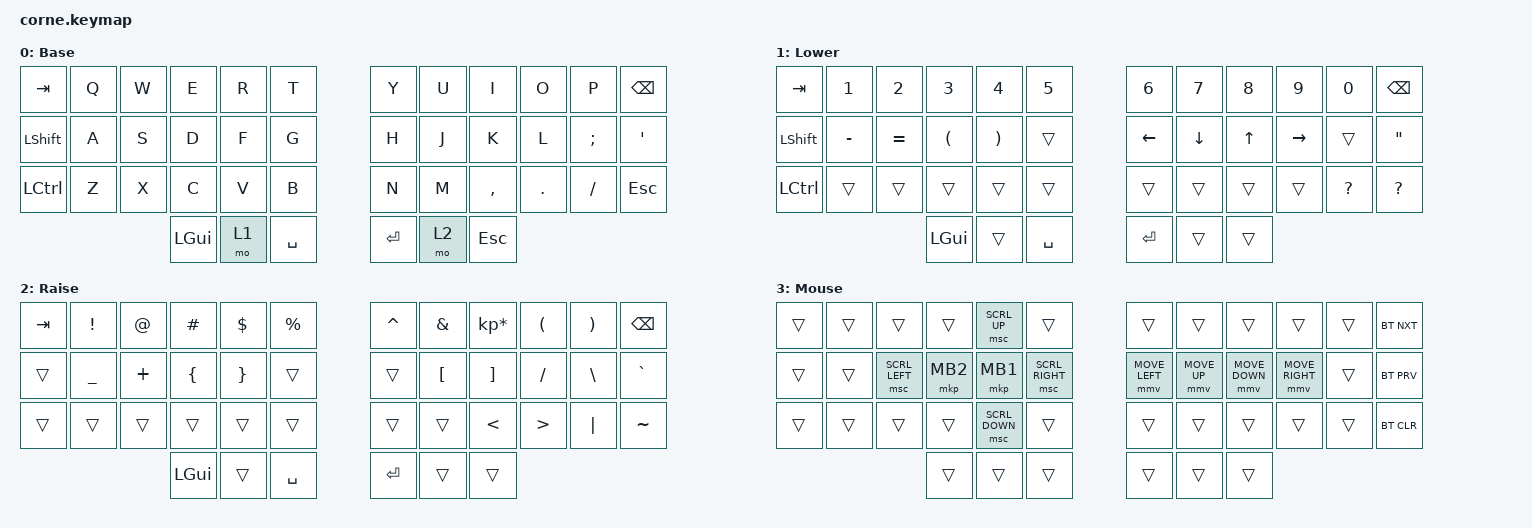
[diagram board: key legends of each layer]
/*
 * Copyright (c) 2020 The ZMK Contributors
 *
 * SPDX-License-Identifier: MIT
 */

#include <behaviors.dtsi>
#include <dt-bindings/zmk/bt.h>
#include <dt-bindings/zmk/keys.h>
#include <dt-bindings/zmk/pointing.h>
#include <dt-bindings/zmk/pointing.h>
#include <dt-bindings/zmk/pointing.h>

#define DEF 0
#define LOW 1
#define RAI 2
#define MOU 3

/ {
    behaviors {
        homerow: homerow {
            compatible = "zmk,behavior-hold-tap";
            label = "HOMEROW";
            #binding-cells = <2>;
            flavor = "balanced";
            tapping-term-ms = <280>;
            quick-tap-ms = <180>;
            require-prior-idle-ms = <350>;
            bindings = <&kp>, <&kp>;
        };

        templayer: templayer {
            compatible = "zmk,behavior-hold-tap";
            label = "TEMPLAYER";
            bindings = <&mo>, <&kp>;

            #binding-cells = <2>;
            tapping-term-ms = <200>;
        };
    };

    combos { compatible = "zmk,combos"; };

    keymap {
        compatible = "zmk,keymap";

        default_layer {

            display-name = "Base";
            bindings = <
&kp TAB     &kp Q                    &kp W                  &kp E                &kp R                &kp T        &kp Y    &kp U                 &kp I                 &kp O                     &kp P                     &kp BSPC
&kp LSHIFT  &kp A  &kp S  &kp D  &kp F  &kp G        &kp H    &kp J  &kp K  &kp L  &kp SEMI  &kp SQT
&kp LCTRL   &kp Z                    &kp X                  &kp C                &kp V                &kp B        &kp N    &kp M                 &kp   COMMA             &kp DOT                   &kp FSLH                  &kp ESC
                                                            &kp LGUI             &mo 1                &kp SPACE    &kp RET  &mo 2                 &kp ESC
            >;
        };

        lower_layer {

            display-name = "Lower";
            label = "LOW";
            bindings = <
&kp TAB         &kp N1     &kp N2     &kp N3                &kp N4                 &kp N5       &kp N6    &kp N7    &kp N8  &kp N9     &kp N0        &kp BSPC
&kp LEFT_SHIFT  &kp MINUS  &kp EQUAL  &kp LEFT_PARENTHESIS  &kp RIGHT_PARENTHESIS  &trans       &kp LEFT  &kp DOWN  &kp UP  &kp RIGHT &trans        &kp DOUBLE_QUOTES
&kp LCTRL       &trans     &trans     &trans                &trans                 &trans       &trans    &trans    &trans  &trans     &kp QUESTION  &kp QUESTION
                                      &kp LGUI              &trans                 &kp SPACE    &kp RET   &trans    &trans
            >;
        };

        raise_layer {
            display-name = "Raise";
            label = "RAI";
            bindings = <
&kp TAB  &kp EXCL        &kp AT    &kp HASH        &kp DLLR         &kp PRCNT    &kp CARET  &kp AMPS          &kp KP_MULTIPLY    &kp LPAR          &kp RPAR  &kp BSPC
&trans   &kp UNDERSCORE  &kp PLUS  &kp LEFT_BRACE  &kp RIGHT_BRACE  &trans       &trans     &kp LEFT_BRACKET  &kp RIGHT_BRACKET  &kp SLASH         &kp BSLH  &kp GRAVE
&trans   &trans          &trans    &trans          &trans           &trans       &trans     &trans            &kp LT             &kp GREATER_THAN  &kp PIPE  &kp TILDE
                                   &kp LGUI        &trans           &kp SPACE    &kp RET    &trans            &trans
            >;
        };

        mouse_layer {
            display-name = "Mouse";
            label = "MOU";
            bindings = <
&trans  &trans  &trans          &trans    &msc SCRL_UP    &trans             &trans          &trans        &trans          &trans           &trans  &bt BT_NXT
&trans  &trans  &msc SCRL_LEFT  &mkp MB2  &mkp MB1        &msc SCRL_RIGHT    &mmv MOVE_LEFT  &mmv MOVE_UP  &mmv MOVE_DOWN  &mmv MOVE_RIGHT  &trans  &bt BT_PRV
&trans  &trans  &trans          &trans    &msc SCRL_DOWN  &trans             &trans          &trans        &trans          &trans           &trans  &bt BT_CLR
                                &trans    &trans          &trans             &trans          &trans        &trans
            >;
        };
    };

    conditional_layers {
        compatible = "zmk,conditional-layers";

        mouse {
            if-layers = <LOW RAI>;
            then-layer = <MOU>;
        };
    };
};
